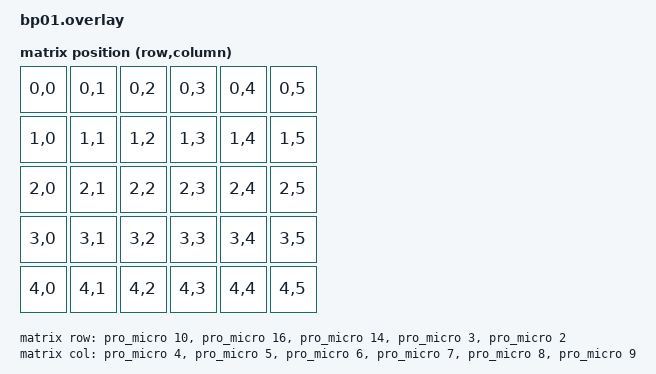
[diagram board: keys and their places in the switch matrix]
#include <dt-bindings/zmk/matrix_transform.h>

/ {
    chosen {
        zmk,keyboard = &keyboard;
        zmk,matrix_transform = &default_transform;
    };

    keyboard: keyboard {
        compatible = "zmk,keyboard";

        matrix {
            compatible = "zmk,matrix-gpio";
            diode-direction = "col2row";

            col-gpios = <
                &pro_micro 4 GPIO_ACTIVE_HIGH
                &pro_micro 5 GPIO_ACTIVE_HIGH
                &pro_micro 6 GPIO_ACTIVE_HIGH
                &pro_micro 7 GPIO_ACTIVE_HIGH
                &pro_micro 8 GPIO_ACTIVE_HIGH
                &pro_micro 9 GPIO_ACTIVE_HIGH
            >;

            row-gpios = <
                &pro_micro 10 (GPIO_ACTIVE_HIGH | GPIO_PULL_DOWN)
                &pro_micro 16 (GPIO_ACTIVE_HIGH | GPIO_PULL_DOWN)
                &pro_micro 14 (GPIO_ACTIVE_HIGH | GPIO_PULL_DOWN)
                &pro_micro 3 (GPIO_ACTIVE_HIGH | GPIO_PULL_DOWN)
                &pro_micro 2 (GPIO_ACTIVE_HIGH | GPIO_PULL_DOWN)
            >;
        };
    };

    default_transform: matrix_transform {
        compatible = "zmk,matrix-transform";
        rows = <5>;
        columns = <6>;

        /*
         * Row-major transform
         * Logical order matches:
         * LAYOUT_ortho_6x5
         *
         * Row 0: 0  1  2  3  4  5
         * Row 1: 6  7  8  9  10 11
         * Row 2: 12 13 14 15 16 17
         * Row 3: 18 19 20 21 22 23
         * Row 4: 24 25 26 27 28 29
         */

        map = <
            RC(0,0) RC(0,1) RC(0,2) RC(0,3) RC(0,4) RC(0,5)
            RC(1,0) RC(1,1) RC(1,2) RC(1,3) RC(1,4) RC(1,5)
            RC(2,0) RC(2,1) RC(2,2) RC(2,3) RC(2,4) RC(2,5)
            RC(3,0) RC(3,1) RC(3,2) RC(3,3) RC(3,4) RC(3,5)
            RC(4,0) RC(4,1) RC(4,2) RC(4,3) RC(4,4) RC(4,5)
        >;
    };
};
